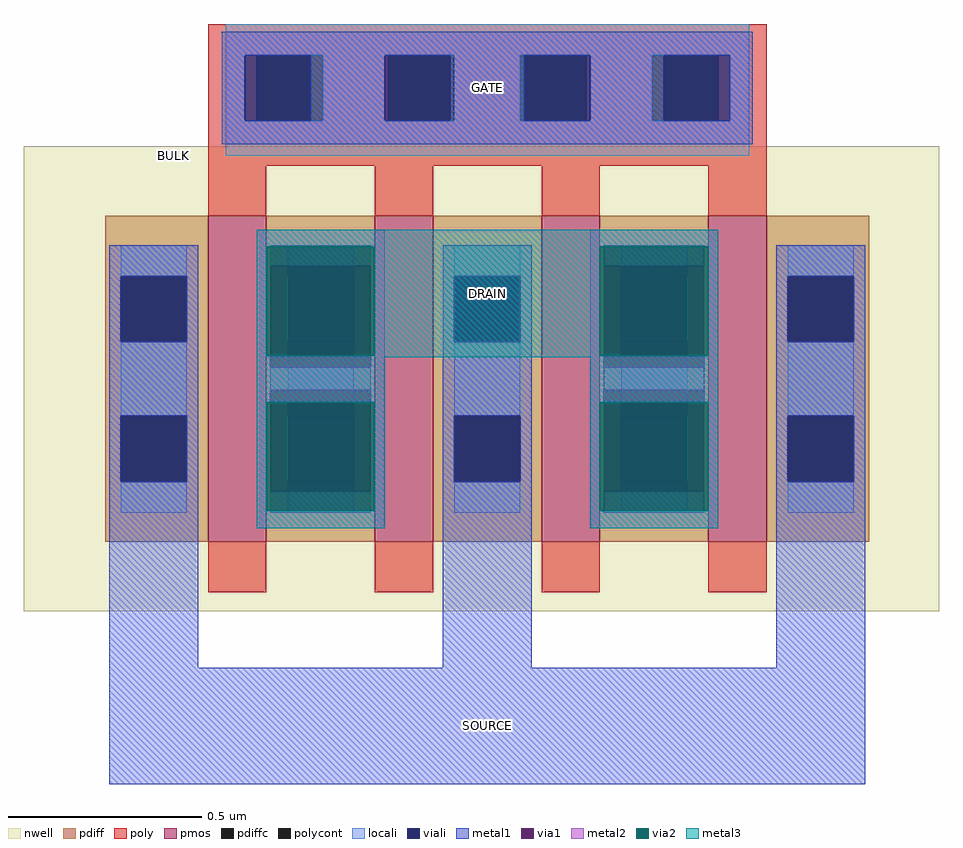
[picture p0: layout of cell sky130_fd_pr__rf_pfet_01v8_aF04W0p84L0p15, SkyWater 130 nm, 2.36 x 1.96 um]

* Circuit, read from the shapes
.subckt sky130_fd_pr__rf_pfet_01v8_aF04W0p84L0p15 DRAIN SOURCE GATE BULK
XM1 DRAIN GATE SOURCE BULK sky130_fd_pr__pfet_01v8 w=0.84 l=0.15 m=4
.ends

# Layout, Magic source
magic
tech sky130A
magscale 1 2
<< nwell >>
rect 0 0 472 240
<< pmos >>
rect 95 36 125 204
rect 181 36 211 204
rect 267 36 297 204
rect 353 36 383 204
<< pdiff >>
rect 42 173 95 204
rect 42 139 50 173
rect 84 139 95 173
rect 42 101 95 139
rect 42 67 50 101
rect 84 67 95 101
rect 42 36 95 67
rect 125 173 181 204
rect 125 139 136 173
rect 170 139 181 173
rect 125 101 181 139
rect 125 67 136 101
rect 170 67 181 101
rect 125 36 181 67
rect 211 173 267 204
rect 211 139 222 173
rect 256 139 267 173
rect 211 101 267 139
rect 211 67 222 101
rect 256 67 267 101
rect 211 36 267 67
rect 297 173 353 204
rect 297 139 308 173
rect 342 139 353 173
rect 297 101 353 139
rect 297 67 308 101
rect 342 67 353 101
rect 297 36 353 67
rect 383 173 436 204
rect 383 139 394 173
rect 428 139 436 173
rect 383 101 436 139
rect 383 67 394 101
rect 428 67 436 101
rect 383 36 436 67
<< pdiffc >>
rect 50 139 84 173
rect 50 67 84 101
rect 136 139 170 173
rect 136 67 170 101
rect 222 139 256 173
rect 222 67 256 101
rect 308 139 342 173
rect 308 67 342 101
rect 394 139 428 173
rect 394 67 428 101
<< poly >>
rect 95 287 383 303
rect 95 253 120 287
rect 154 253 188 287
rect 222 253 256 287
rect 290 253 324 287
rect 358 253 383 287
rect 95 230 383 253
rect 95 204 125 230
rect 181 204 211 230
rect 267 204 297 230
rect 353 204 383 230
rect 95 10 125 36
rect 181 10 211 36
rect 267 10 297 36
rect 353 10 383 36
<< polycont >>
rect 120 253 154 287
rect 188 253 222 287
rect 256 253 290 287
rect 324 253 358 287
<< locali >>
rect 104 287 374 303
rect 104 253 114 287
rect 154 253 186 287
rect 222 253 256 287
rect 292 253 324 287
rect 364 253 374 287
rect 104 235 374 253
rect 50 173 84 189
rect 50 101 84 139
rect 50 51 84 67
rect 136 173 170 189
rect 136 101 170 139
rect 136 51 170 67
rect 222 173 256 189
rect 222 101 256 139
rect 222 51 256 67
rect 308 173 342 189
rect 308 101 342 139
rect 308 51 342 67
rect 394 173 428 189
rect 394 101 428 139
rect 394 51 428 67
<< viali >>
rect 114 253 120 287
rect 120 253 148 287
rect 186 253 188 287
rect 188 253 220 287
rect 258 253 290 287
rect 290 253 292 287
rect 330 253 358 287
rect 358 253 364 287
rect 50 139 84 173
rect 50 67 84 101
rect 136 139 170 173
rect 136 67 170 101
rect 222 139 256 173
rect 222 67 256 101
rect 308 139 342 173
rect 308 67 342 101
rect 394 139 428 173
rect 394 67 428 101
<< metal1 >>
rect 102 287 376 299
rect 102 253 114 287
rect 148 253 186 287
rect 220 253 258 287
rect 292 253 330 287
rect 364 253 376 287
rect 102 241 376 253
rect 44 173 90 189
rect 44 139 50 173
rect 84 139 90 173
rect 44 101 90 139
rect 44 67 50 101
rect 84 67 90 101
rect 44 -29 90 67
rect 127 178 179 189
rect 127 114 179 126
rect 127 51 179 62
rect 216 173 262 189
rect 216 139 222 173
rect 256 139 262 173
rect 216 101 262 139
rect 216 67 222 101
rect 256 67 262 101
rect 216 -29 262 67
rect 299 178 351 189
rect 299 114 351 126
rect 299 51 351 62
rect 388 173 434 189
rect 388 139 394 173
rect 428 139 434 173
rect 388 101 434 139
rect 388 67 394 101
rect 428 67 434 101
rect 388 -29 434 67
rect 44 -89 434 -29
<< via1 >>
rect 127 173 179 178
rect 127 139 136 173
rect 136 139 170 173
rect 170 139 179 173
rect 127 126 179 139
rect 127 101 179 114
rect 127 67 136 101
rect 136 67 170 101
rect 170 67 179 101
rect 127 62 179 67
rect 299 173 351 178
rect 299 139 308 173
rect 308 139 342 173
rect 342 139 351 173
rect 299 126 351 139
rect 299 101 351 114
rect 299 67 308 101
rect 308 67 342 101
rect 342 67 351 101
rect 299 62 351 67
<< metal2 >>
rect 120 188 186 197
rect 120 132 125 188
rect 181 132 186 188
rect 120 126 127 132
rect 179 126 186 132
rect 120 114 186 126
rect 120 108 127 114
rect 179 108 186 114
rect 120 52 125 108
rect 181 52 186 108
rect 120 43 186 52
rect 292 188 358 197
rect 292 132 297 188
rect 353 132 358 188
rect 292 126 299 132
rect 351 126 358 132
rect 292 114 358 126
rect 292 108 299 114
rect 351 108 358 114
rect 292 52 297 108
rect 353 52 358 108
rect 292 43 358 52
<< via2 >>
rect 125 178 181 188
rect 125 132 127 178
rect 127 132 179 178
rect 179 132 181 178
rect 125 62 127 108
rect 127 62 179 108
rect 179 62 181 108
rect 125 52 181 62
rect 297 178 353 188
rect 297 132 299 178
rect 299 132 351 178
rect 351 132 353 178
rect 297 62 299 108
rect 299 62 351 108
rect 351 62 353 108
rect 297 52 353 62
<< metal3 >>
rect 120 188 358 197
rect 120 132 125 188
rect 181 132 297 188
rect 353 132 358 188
rect 120 131 358 132
rect 120 108 186 131
rect 120 52 125 108
rect 181 52 186 108
rect 120 43 186 52
rect 292 108 358 131
rect 292 52 297 108
rect 353 52 358 108
rect 292 43 358 52
<< labels >>
flabel metal3 s 120 131 358 197 0 FreeSans 400 0 0 0 DRAIN
port 1 nsew
flabel metal1 s 44 -89 434 -29 0 FreeSans 400 0 0 0 SOURCE
port 2 nsew
flabel metal1 s 102 241 376 299 0 FreeSans 400 0 0 0 GATE
port 3 nsew
flabel nwell s 64 232 90 238 0 FreeSans 400 0 0 0 BULK
port 4 nsew
<< properties >>
string GDS_FILE $PDKPATH/libs.ref/sky130_fd_pr/gds/sky130_fd_pr.gds
string GDS_END 9161674
string GDS_START 9154866
string path 8.125 4.725 8.125 1.275 
<< end >>
